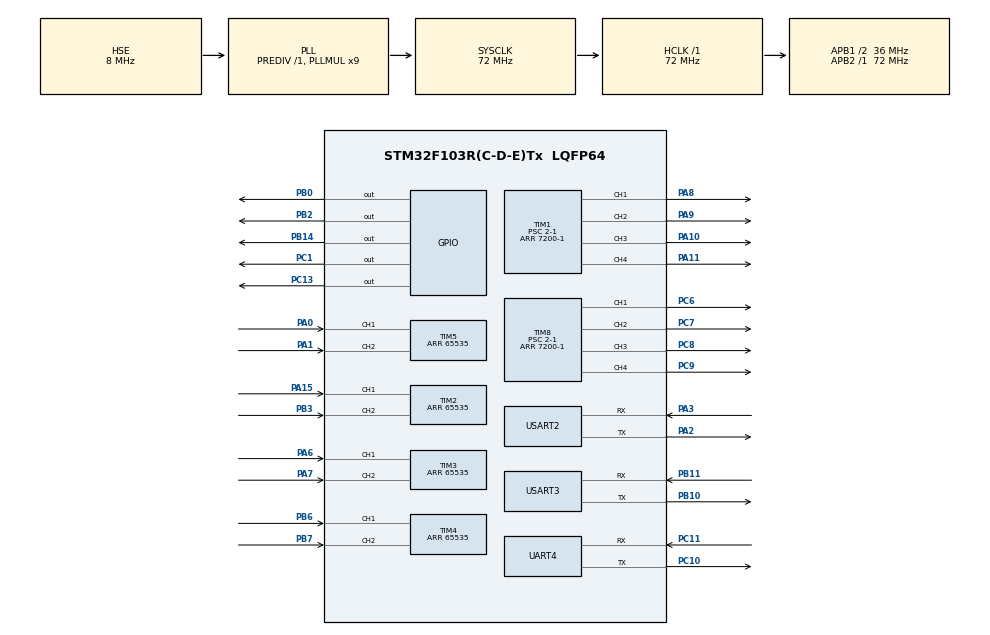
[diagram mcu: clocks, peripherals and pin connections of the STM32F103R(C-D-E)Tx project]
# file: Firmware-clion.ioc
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Dma.Request0=USART3_RX
Dma.USART3_RX.0.Direction=DMA_PERIPH_TO_MEMORY
Dma.USART3_RX.0.Instance=DMA1_Channel3
Dma.USART3_RX.0.MemDataAlignment=DMA_MDATAALIGN_BYTE
Dma.USART3_RX.0.MemInc=DMA_MINC_ENABLE
Dma.USART3_RX.0.Mode=DMA_NORMAL
Dma.USART3_RX.0.PeriphDataAlignment=DMA_PDATAALIGN_BYTE
Dma.USART3_RX.0.PeriphInc=DMA_PINC_DISABLE
Dma.USART3_RX.0.Priority=DMA_PRIORITY_MEDIUM
Mcu.Family=STM32F1
Mcu.Name=STM32F103R(C-D-E)Tx
Mcu.Package=LQFP64
NVIC.DMA1_Channel3_IRQn=true\:0\:0\:false\:false\:true\:false\:true
NVIC.PriorityGroup=NVIC_PRIORITYGROUP_4
NVIC.TIM6_IRQn=true\:0\:0\:false\:false\:true\:true\:true
NVIC.UART4_IRQn=true\:0\:0\:false\:false\:false\:true\:true
NVIC.USART2_IRQn=true\:0\:0\:false\:false\:false\:true\:true
NVIC.USART3_IRQn=true\:0\:0\:false\:false\:false\:true\:true
PA0-WKUP.Signal=S_TIM5_CH1
PA1.Signal=S_TIM5_CH2
PA10.Signal=S_TIM1_CH3
PA11.Signal=S_TIM1_CH4
PA13.Mode=Serial_Wire
PA13.Signal=SYS_JTMS-SWDIO
PA14.Mode=Serial_Wire
PA14.Signal=SYS_JTCK-SWCLK
PA15.GPIO_PuPd=GPIO_PULLUP
PA15.Signal=S_TIM2_CH1_ETR
PA2.Mode=Asynchronous
PA2.Signal=USART2_TX
PA3.Mode=Asynchronous
PA3.Signal=USART2_RX
PA6.Signal=S_TIM3_CH1
PA7.Signal=S_TIM3_CH2
PA8.Signal=S_TIM1_CH1
PA9.Signal=S_TIM1_CH2
PB0.PinState=GPIO_PIN_SET
PB0.Signal=GPIO_Output
PB10.Mode=Asynchronous
PB10.Signal=USART3_TX
PB11.Mode=Asynchronous
PB11.Signal=USART3_RX
PB14.PinState=GPIO_PIN_SET
PB14.Signal=GPIO_Output
PB2.Signal=GPIO_Output
PB3.GPIO_PuPd=GPIO_PULLUP
PB3.Signal=S_TIM2_CH2
PB6.Signal=S_TIM4_CH1
PB7.Signal=S_TIM4_CH2
PC1.Signal=GPIO_Output
PC10.Mode=Asynchronous
PC10.Signal=UART4_TX
PC11.GPIO_PuPd=GPIO_PULLUP
PC11.Mode=Asynchronous
PC11.Signal=UART4_RX
PC13-TAMPER-RTC.Signal=GPIO_Output
PC6.Signal=S_TIM8_CH1
PC7.Signal=S_TIM8_CH2
PC8.Signal=S_TIM8_CH3
PC9.Signal=S_TIM8_CH4
PD0-OSC_IN.Mode=HSE-External-Oscillator
PD0-OSC_IN.Signal=RCC_OSC_IN
PD1-OSC_OUT.Mode=HSE-External-Oscillator
PD1-OSC_OUT.Signal=RCC_OSC_OUT
ProjectManager.HeapSize=0x200
ProjectManager.StackSize=0x400
ProjectManager.TargetToolchain=SW4STM32
RCC.AHBFreq_Value=72000000
RCC.APB1CLKDivider=RCC_HCLK_DIV2
RCC.APB1Freq_Value=36000000
RCC.APB1TimFreq_Value=72000000
RCC.APB2Freq_Value=72000000
RCC.APB2TimFreq_Value=72000000
RCC.HCLKFreq_Value=72000000
RCC.PLLMUL=RCC_PLL_MUL9
RCC.PLLSourceVirtual=RCC_PLLSOURCE_HSE
RCC.SYSCLKFreq_VALUE=72000000
RCC.SYSCLKSource=RCC_SYSCLKSOURCE_PLLCLK
RCC.USBFreq_Value=72000000
SH.S_TIM1_CH1.0=TIM1_CH1,PWM Generation1 CH1
SH.S_TIM1_CH2.0=TIM1_CH2,PWM Generation2 CH2
SH.S_TIM1_CH3.0=TIM1_CH3,PWM Generation3 CH3
SH.S_TIM1_CH4.0=TIM1_CH4,PWM Generation4 CH4
SH.S_TIM2_CH1_ETR.0=TIM2_CH1,Encoder_Interface
SH.S_TIM2_CH2.0=TIM2_CH2,Encoder_Interface
SH.S_TIM3_CH1.0=TIM3_CH1,Encoder_Interface
SH.S_TIM3_CH2.0=TIM3_CH2,Encoder_Interface
SH.S_TIM4_CH1.0=TIM4_CH1,Encoder_Interface
SH.S_TIM4_CH2.0=TIM4_CH2,Encoder_Interface
SH.S_TIM5_CH1.0=TIM5_CH1,Encoder_Interface
SH.S_TIM5_CH2.0=TIM5_CH2,Encoder_Interface
SH.S_TIM8_CH1.0=TIM8_CH1,PWM Generation1 CH1
SH.S_TIM8_CH2.0=TIM8_CH2,PWM Generation2 CH2
SH.S_TIM8_CH3.0=TIM8_CH3,PWM Generation3 CH3
SH.S_TIM8_CH4.0=TIM8_CH4,PWM Generation4 CH4
TIM1.Channel-PWM\ Generation1\ CH1=TIM_CHANNEL_1
TIM1.Channel-PWM\ Generation2\ CH2=TIM_CHANNEL_2
TIM1.Channel-PWM\ Generation3\ CH3=TIM_CHANNEL_3
TIM1.Channel-PWM\ Generation4\ CH4=TIM_CHANNEL_4
TIM1.Period=7200-1
TIM1.Prescaler=2-1
TIM2.EncoderMode=TIM_ENCODERMODE_TI12
TIM2.IC1Filter=8
TIM2.IC2Filter=8
TIM2.Period=65535
TIM3.EncoderMode=TIM_ENCODERMODE_TI12
TIM3.IC1Filter=8
TIM3.IC2Filter=8
TIM3.Period=65535
TIM4.EncoderMode=TIM_ENCODERMODE_TI12
TIM4.IC1Filter=8
TIM4.IC2Filter=8
TIM4.Period=65535
TIM5.EncoderMode=TIM_ENCODERMODE_TI12
TIM5.IC1Filter=8
TIM5.IC2Filter=8
TIM5.Period=65535
TIM6.AutoReloadPreload=TIM_AUTORELOAD_PRELOAD_ENABLE
TIM6.Period=9
TIM6.Prescaler=7199
TIM8.Channel-PWM\ Generation1\ CH1=TIM_CHANNEL_1
TIM8.Channel-PWM\ Generation2\ CH2=TIM_CHANNEL_2
TIM8.Channel-PWM\ Generation3\ CH3=TIM_CHANNEL_3
TIM8.Channel-PWM\ Generation4\ CH4=TIM_CHANNEL_4
TIM8.Period=7200-1
TIM8.Prescaler=2-1
UART4.VirtualMode=Asynchronous
USART2.VirtualMode=VM_ASYNC
USART3.VirtualMode=VM_ASYNC
VP_TIM1_VS_ClockSourceINT.Mode=Internal
VP_TIM6_VS_ClockSourceINT.Mode=Enable_Timer
VP_TIM8_VS_ClockSourceINT.Mode=Internal
board=custom

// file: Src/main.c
/* USER CODE BEGIN Header */
/**
  ******************************************************************************
  * @file           : main.c
  * @brief          : Main program body
  ******************************************************************************
  * @attention
  *
  * <h2><center>&copy; Copyright (c) 2020 STMicroelectronics.
  * All rights reserved.</center></h2>
  *
  * This software component is licensed by ST under BSD 3-Clause license,
  * the "License"; You may not use this file except in compliance with the
  * License. You may obtain a copy of the License at:
  *                        opensource.org/licenses/BSD-3-Clause
  *
  ******************************************************************************
  */
/* USER CODE END Header */

#include "main.h"

/* USER CODE BEGIN Includes */
#include "bsp_imu.h"
#include "bsp_motor.h"
#include "bsp_uart4.h"
#include "bsp_delay.h"
#include "bsp_servo_iic.h"
#include "bsp_led.h"
#include "timer_it.h"
#include "chassis.h"
#include "imu.h"
#include "task.h"
#include "chassis_behavior.h"
/* USER CODE END Includes */

TIM_HandleTypeDef htim1;
TIM_HandleTypeDef htim2;
TIM_HandleTypeDef htim3;
TIM_HandleTypeDef htim4;
TIM_HandleTypeDef htim5;
TIM_HandleTypeDef htim6;
TIM_HandleTypeDef htim8;

UART_HandleTypeDef huart4;
UART_HandleTypeDef huart2;
UART_HandleTypeDef huart3;
DMA_HandleTypeDef hdma_usart3_rx;

void SystemClock_Config(void);
static void MX_GPIO_Init(void);
static void MX_DMA_Init(void);
static void MX_USART3_UART_Init(void);
static void MX_TIM1_Init(void);
static void MX_TIM8_Init(void);
static void MX_TIM2_Init(void);
static void MX_UART4_Init(void);
static void MX_TIM6_Init(void);
static void MX_USART2_UART_Init(void);
static void MX_TIM3_Init(void);
static void MX_TIM4_Init(void);
static void MX_TIM5_Init(void);

int main(void) {

  /* MCU Configuration--------------------------------------------------------*/

  /* Reset of all peripherals, Initializes the Flash interface and the Systick. */
  HAL_Init();

  /* Configure the system clock */
  SystemClock_Config();

  /* Initialize all configured peripherals */
  MX_GPIO_Init();
  MX_DMA_Init();
  MX_USART3_UART_Init();
  MX_TIM1_Init();
  MX_TIM8_Init();
  MX_TIM2_Init();
  MX_UART4_Init();
  MX_TIM6_Init();
  MX_USART2_UART_Init();
  MX_TIM3_Init();
  MX_TIM4_Init();
  MX_TIM5_Init();
  /* USER CODE BEGIN 2 */
  chassis_init();
  delay_init();
  imu_init();
  motor_pwm_enable();
  timer6_init();
  RetargetInit(&huart2);
  tracker_init();
  uart4_receive_init();
  pca_init(50, 90);
  /* USER CODE END 2 */

  /* Infinite loop */
  /* USER CODE BEGIN WHILE */
//  imu.on_off_ = true;
//  chassis_yaw_set(0);
//  move_by_left_bar(2, 1, 60, 6, 150);
  while (1) {
    /* USER CODE END WHILE */

  }
}

void SystemClock_Config(void) {
  RCC_OscInitTypeDef RCC_OscInitStruct = {0};
  RCC_ClkInitTypeDef RCC_ClkInitStruct = {0};

  /** Initializes the CPU, AHB and APB busses clocks
  */
  RCC_OscInitStruct.OscillatorType = RCC_OSCILLATORTYPE_HSE;
  RCC_OscInitStruct.HSEState = RCC_HSE_ON;
  RCC_OscInitStruct.HSEPredivValue = RCC_HSE_PREDIV_DIV1;
  RCC_OscInitStruct.HSIState = RCC_HSI_ON;
  RCC_OscInitStruct.PLL.PLLState = RCC_PLL_ON;
  RCC_OscInitStruct.PLL.PLLSource = RCC_PLLSOURCE_HSE;
  RCC_OscInitStruct.PLL.PLLMUL = RCC_PLL_MUL9;
  if (HAL_RCC_OscConfig(&RCC_OscInitStruct) != HAL_OK) {
    Error_Handler();
  }
  /** Initializes the CPU, AHB and APB busses clocks
  */
  RCC_ClkInitStruct.ClockType = RCC_CLOCKTYPE_HCLK | RCC_CLOCKTYPE_SYSCLK
      | RCC_CLOCKTYPE_PCLK1 | RCC_CLOCKTYPE_PCLK2;
  RCC_ClkInitStruct.SYSCLKSource = RCC_SYSCLKSOURCE_PLLCLK;
  RCC_ClkInitStruct.AHBCLKDivider = RCC_SYSCLK_DIV1;
  RCC_ClkInitStruct.APB1CLKDivider = RCC_HCLK_DIV2;
  RCC_ClkInitStruct.APB2CLKDivider = RCC_HCLK_DIV1;

  if (HAL_RCC_ClockConfig(&RCC_ClkInitStruct, FLASH_LATENCY_2) != HAL_OK) {
    Error_Handler();
  }
}

static void MX_TIM1_Init(void) {

  TIM_ClockConfigTypeDef sClockSourceConfig = {0};
  TIM_MasterConfigTypeDef sMasterConfig = {0};
  TIM_OC_InitTypeDef sConfigOC = {0};
  TIM_BreakDeadTimeConfigTypeDef sBreakDeadTimeConfig = {0};

  htim1.Instance = TIM1;
  htim1.Init.Prescaler = 2 - 1;
  htim1.Init.CounterMode = TIM_COUNTERMODE_UP;
  htim1.Init.Period = 7200 - 1;
  htim1.Init.ClockDivision = TIM_CLOCKDIVISION_DIV1;
  htim1.Init.RepetitionCounter = 0;
  htim1.Init.AutoReloadPreload = TIM_AUTORELOAD_PRELOAD_DISABLE;
  if (HAL_TIM_Base_Init(&htim1) != HAL_OK) {
    Error_Handler();
  }
  sClockSourceConfig.ClockSource = TIM_CLOCKSOURCE_INTERNAL;
  if (HAL_TIM_ConfigClockSource(&htim1, &sClockSourceConfig) != HAL_OK) {
    Error_Handler();
  }
  if (HAL_TIM_PWM_Init(&htim1) != HAL_OK) {
    Error_Handler();
  }
  sMasterConfig.MasterOutputTrigger = TIM_TRGO_RESET;
  sMasterConfig.MasterSlaveMode = TIM_MASTERSLAVEMODE_DISABLE;
  if (HAL_TIMEx_MasterConfigSynchronization(&htim1, &sMasterConfig) != HAL_OK) {
    Error_Handler();
  }
  sConfigOC.OCMode = TIM_OCMODE_PWM1;
  sConfigOC.Pulse = 0;
  sConfigOC.OCPolarity = TIM_OCPOLARITY_HIGH;
  sConfigOC.OCNPolarity = TIM_OCNPOLARITY_HIGH;
  sConfigOC.OCFastMode = TIM_OCFAST_DISABLE;
  sConfigOC.OCIdleState = TIM_OCIDLESTATE_RESET;
  sConfigOC.OCNIdleState = TIM_OCNIDLESTATE_RESET;
  if (HAL_TIM_PWM_ConfigChannel(&htim1, &sConfigOC, TIM_CHANNEL_1) != HAL_OK) {
    Error_Handler();
  }
  if (HAL_TIM_PWM_ConfigChannel(&htim1, &sConfigOC, TIM_CHANNEL_2) != HAL_OK) {
    Error_Handler();
  }
  if (HAL_TIM_PWM_ConfigChannel(&htim1, &sConfigOC, TIM_CHANNEL_3) != HAL_OK) {
    Error_Handler();
  }
  if (HAL_TIM_PWM_ConfigChannel(&htim1, &sConfigOC, TIM_CHANNEL_4) != HAL_OK) {
    Error_Handler();
  }
  sBreakDeadTimeConfig.OffStateRunMode = TIM_OSSR_DISABLE;
  sBreakDeadTimeConfig.OffStateIDLEMode = TIM_OSSI_DISABLE;
  sBreakDeadTimeConfig.LockLevel = TIM_LOCKLEVEL_OFF;
  sBreakDeadTimeConfig.DeadTime = 0;
  sBreakDeadTimeConfig.BreakState = TIM_BREAK_DISABLE;
  sBreakDeadTimeConfig.BreakPolarity = TIM_BREAKPOLARITY_HIGH;
  sBreakDeadTimeConfig.AutomaticOutput = TIM_AUTOMATICOUTPUT_DISABLE;
  if (HAL_TIMEx_ConfigBreakDeadTime(&htim1, &sBreakDeadTimeConfig) != HAL_OK) {
    Error_Handler();
  }
  HAL_TIM_MspPostInit(&htim1);

}

static void MX_TIM2_Init(void) {

  TIM_Encoder_InitTypeDef sConfig = {0};
  TIM_MasterConfigTypeDef sMasterConfig = {0};

  htim2.Instance = TIM2;
  htim2.Init.Prescaler = 0;
  htim2.Init.CounterMode = TIM_COUNTERMODE_UP;
  htim2.Init.Period = 65535;
  htim2.Init.ClockDivision = TIM_CLOCKDIVISION_DIV1;
  htim2.Init.AutoReloadPreload = TIM_AUTORELOAD_PRELOAD_DISABLE;
  sConfig.EncoderMode = TIM_ENCODERMODE_TI12;
  sConfig.IC1Polarity = TIM_ICPOLARITY_RISING;
  sConfig.IC1Selection = TIM_ICSELECTION_DIRECTTI;
  sConfig.IC1Prescaler = TIM_ICPSC_DIV1;
  sConfig.IC1Filter = 8;
  sConfig.IC2Polarity = TIM_ICPOLARITY_RISING;
  sConfig.IC2Selection = TIM_ICSELECTION_DIRECTTI;
  sConfig.IC2Prescaler = TIM_ICPSC_DIV1;
  sConfig.IC2Filter = 8;
  if (HAL_TIM_Encoder_Init(&htim2, &sConfig) != HAL_OK) {
    Error_Handler();
  }
  sMasterConfig.MasterOutputTrigger = TIM_TRGO_RESET;
  sMasterConfig.MasterSlaveMode = TIM_MASTERSLAVEMODE_DISABLE;
  if (HAL_TIMEx_MasterConfigSynchronization(&htim2, &sMasterConfig) != HAL_OK) {
    Error_Handler();
  }

}

static void MX_TIM3_Init(void) {

  TIM_Encoder_InitTypeDef sConfig = {0};
  TIM_MasterConfigTypeDef sMasterConfig = {0};

  htim3.Instance = TIM3;
  htim3.Init.Prescaler = 0;
  htim3.Init.CounterMode = TIM_COUNTERMODE_UP;
  htim3.Init.Period = 65535;
  htim3.Init.ClockDivision = TIM_CLOCKDIVISION_DIV1;
  htim3.Init.AutoReloadPreload = TIM_AUTORELOAD_PRELOAD_DISABLE;
  sConfig.EncoderMode = TIM_ENCODERMODE_TI12;
  sConfig.IC1Polarity = TIM_ICPOLARITY_RISING;
  sConfig.IC1Selection = TIM_ICSELECTION_DIRECTTI;
  sConfig.IC1Prescaler = TIM_ICPSC_DIV1;
  sConfig.IC1Filter = 8;
  sConfig.IC2Polarity = TIM_ICPOLARITY_RISING;
  sConfig.IC2Selection = TIM_ICSELECTION_DIRECTTI;
  sConfig.IC2Prescaler = TIM_ICPSC_DIV1;
  sConfig.IC2Filter = 8;
  if (HAL_TIM_Encoder_Init(&htim3, &sConfig) != HAL_OK) {
    Error_Handler();
  }
  sMasterConfig.MasterOutputTrigger = TIM_TRGO_RESET;
  sMasterConfig.MasterSlaveMode = TIM_MASTERSLAVEMODE_DISABLE;
  if (HAL_TIMEx_MasterConfigSynchronization(&htim3, &sMasterConfig) != HAL_OK) {
    Error_Handler();
  }

}

static void MX_TIM4_Init(void) {

  TIM_Encoder_InitTypeDef sConfig = {0};
  TIM_MasterConfigTypeDef sMasterConfig = {0};

  htim4.Instance = TIM4;
  htim4.Init.Prescaler = 0;
  htim4.Init.CounterMode = TIM_COUNTERMODE_UP;
  htim4.Init.Period = 65535;
  htim4.Init.ClockDivision = TIM_CLOCKDIVISION_DIV1;
  htim4.Init.AutoReloadPreload = TIM_AUTORELOAD_PRELOAD_DISABLE;
  sConfig.EncoderMode = TIM_ENCODERMODE_TI12;
  sConfig.IC1Polarity = TIM_ICPOLARITY_RISING;
  sConfig.IC1Selection = TIM_ICSELECTION_DIRECTTI;
  sConfig.IC1Prescaler = TIM_ICPSC_DIV1;
  sConfig.IC1Filter = 8;
  sConfig.IC2Polarity = TIM_ICPOLARITY_RISING;
  sConfig.IC2Selection = TIM_ICSELECTION_DIRECTTI;
  sConfig.IC2Prescaler = TIM_ICPSC_DIV1;
  sConfig.IC2Filter = 8;
  if (HAL_TIM_Encoder_Init(&htim4, &sConfig) != HAL_OK) {
    Error_Handler();
  }
  sMasterConfig.MasterOutputTrigger = TIM_TRGO_RESET;
  sMasterConfig.MasterSlaveMode = TIM_MASTERSLAVEMODE_DISABLE;
  if (HAL_TIMEx_MasterConfigSynchronization(&htim4, &sMasterConfig) != HAL_OK) {
    Error_Handler();
  }

}

static void MX_TIM5_Init(void) {

  TIM_Encoder_InitTypeDef sConfig = {0};
  TIM_MasterConfigTypeDef sMasterConfig = {0};

  htim5.Instance = TIM5;
  htim5.Init.Prescaler = 0;
  htim5.Init.CounterMode = TIM_COUNTERMODE_UP;
  htim5.Init.Period = 65535;
  htim5.Init.ClockDivision = TIM_CLOCKDIVISION_DIV1;
  htim5.Init.AutoReloadPreload = TIM_AUTORELOAD_PRELOAD_DISABLE;
  sConfig.EncoderMode = TIM_ENCODERMODE_TI12;
  sConfig.IC1Polarity = TIM_ICPOLARITY_RISING;
  sConfig.IC1Selection = TIM_ICSELECTION_DIRECTTI;
  sConfig.IC1Prescaler = TIM_ICPSC_DIV1;
  sConfig.IC1Filter = 8;
  sConfig.IC2Polarity = TIM_ICPOLARITY_RISING;
  sConfig.IC2Selection = TIM_ICSELECTION_DIRECTTI;
  sConfig.IC2Prescaler = TIM_ICPSC_DIV1;
  sConfig.IC2Filter = 8;
  if (HAL_TIM_Encoder_Init(&htim5, &sConfig) != HAL_OK) {
    Error_Handler();
  }
  sMasterConfig.MasterOutputTrigger = TIM_TRGO_RESET;
  sMasterConfig.MasterSlaveMode = TIM_MASTERSLAVEMODE_DISABLE;
  if (HAL_TIMEx_MasterConfigSynchronization(&htim5, &sMasterConfig) != HAL_OK) {
    Error_Handler();
  }

}

static void MX_TIM6_Init(void) {

  TIM_MasterConfigTypeDef sMasterConfig = {0};

  htim6.Instance = TIM6;
  htim6.Init.Prescaler = 7199;
  htim6.Init.CounterMode = TIM_COUNTERMODE_UP;
  htim6.Init.Period = 9;
  htim6.Init.AutoReloadPreload = TIM_AUTORELOAD_PRELOAD_ENABLE;
  if (HAL_TIM_Base_Init(&htim6) != HAL_OK) {
    Error_Handler();
  }
  sMasterConfig.MasterOutputTrigger = TIM_TRGO_RESET;
  sMasterConfig.MasterSlaveMode = TIM_MASTERSLAVEMODE_DISABLE;
  if (HAL_TIMEx_MasterConfigSynchronization(&htim6, &sMasterConfig) != HAL_OK) {
    Error_Handler();
  }

}

static void MX_TIM8_Init(void) {

  TIM_ClockConfigTypeDef sClockSourceConfig = {0};
  TIM_MasterConfigTypeDef sMasterConfig = {0};
  TIM_OC_InitTypeDef sConfigOC = {0};
  TIM_BreakDeadTimeConfigTypeDef sBreakDeadTimeConfig = {0};

  htim8.Instance = TIM8;
  htim8.Init.Prescaler = 2 - 1;
  htim8.Init.CounterMode = TIM_COUNTERMODE_UP;
  htim8.Init.Period = 7200 - 1;
  htim8.Init.ClockDivision = TIM_CLOCKDIVISION_DIV1;
  htim8.Init.RepetitionCounter = 0;
  htim8.Init.AutoReloadPreload = TIM_AUTORELOAD_PRELOAD_DISABLE;
  if (HAL_TIM_Base_Init(&htim8) != HAL_OK) {
    Error_Handler();
  }
  sClockSourceConfig.ClockSource = TIM_CLOCKSOURCE_INTERNAL;
  if (HAL_TIM_ConfigClockSource(&htim8, &sClockSourceConfig) != HAL_OK) {
    Error_Handler();
  }
  if (HAL_TIM_PWM_Init(&htim8) != HAL_OK) {
    Error_Handler();
  }
  sMasterConfig.MasterOutputTrigger = TIM_TRGO_RESET;
  sMasterConfig.MasterSlaveMode = TIM_MASTERSLAVEMODE_DISABLE;
  if (HAL_TIMEx_MasterConfigSynchronization(&htim8, &sMasterConfig) != HAL_OK) {
    Error_Handler();
  }
  sConfigOC.OCMode = TIM_OCMODE_PWM1;
  sConfigOC.Pulse = 0;
  sConfigOC.OCPolarity = TIM_OCPOLARITY_HIGH;
  sConfigOC.OCNPolarity = TIM_OCNPOLARITY_HIGH;
  sConfigOC.OCFastMode = TIM_OCFAST_DISABLE;
  sConfigOC.OCIdleState = TIM_OCIDLESTATE_RESET;
  sConfigOC.OCNIdleState = TIM_OCNIDLESTATE_RESET;
  if (HAL_TIM_PWM_ConfigChannel(&htim8, &sConfigOC, TIM_CHANNEL_1) != HAL_OK) {
    Error_Handler();
  }
  if (HAL_TIM_PWM_ConfigChannel(&htim8, &sConfigOC, TIM_CHANNEL_2) != HAL_OK) {
    Error_Handler();
  }
  if (HAL_TIM_PWM_ConfigChannel(&htim8, &sConfigOC, TIM_CHANNEL_3) != HAL_OK) {
    Error_Handler();
  }
  if (HAL_TIM_PWM_ConfigChannel(&htim8, &sConfigOC, TIM_CHANNEL_4) != HAL_OK) {
    Error_Handler();
  }
  sBreakDeadTimeConfig.OffStateRunMode = TIM_OSSR_DISABLE;
  sBreakDeadTimeConfig.OffStateIDLEMode = TIM_OSSI_DISABLE;
  sBreakDeadTimeConfig.LockLevel = TIM_LOCKLEVEL_OFF;
  sBreakDeadTimeConfig.DeadTime = 0;
  sBreakDeadTimeConfig.BreakState = TIM_BREAK_DISABLE;
  sBreakDeadTimeConfig.BreakPolarity = TIM_BREAKPOLARITY_HIGH;
  sBreakDeadTimeConfig.AutomaticOutput = TIM_AUTOMATICOUTPUT_DISABLE;
  if (HAL_TIMEx_ConfigBreakDeadTime(&htim8, &sBreakDeadTimeConfig) != HAL_OK) {
    Error_Handler();
  }
  HAL_TIM_MspPostInit(&htim8);

}

static void MX_UART4_Init(void) {

  huart4.Instance = UART4;
  huart4.Init.BaudRate = 115200;
  huart4.Init.WordLength = UART_WORDLENGTH_8B;
  huart4.Init.StopBits = UART_STOPBITS_1;
  huart4.Init.Parity = UART_PARITY_NONE;
  huart4.Init.Mode = UART_MODE_TX_RX;
  huart4.Init.HwFlowCtl = UART_HWCONTROL_NONE;
  huart4.Init.OverSampling = UART_OVERSAMPLING_16;
  if (HAL_UART_Init(&huart4) != HAL_OK) {
    Error_Handler();
  }

}

static void MX_USART2_UART_Init(void) {

  huart2.Instance = USART2;
  huart2.Init.BaudRate = 115200;
  huart2.Init.WordLength = UART_WORDLENGTH_8B;
  huart2.Init.StopBits = UART_STOPBITS_1;
  huart2.Init.Parity = UART_PARITY_NONE;
  huart2.Init.Mode = UART_MODE_TX_RX;
  huart2.Init.HwFlowCtl = UART_HWCONTROL_NONE;
  huart2.Init.OverSampling = UART_OVERSAMPLING_16;
  if (HAL_UART_Init(&huart2) != HAL_OK) {
    Error_Handler();
  }

}

static void MX_USART3_UART_Init(void) {

  huart3.Instance = USART3;
  huart3.Init.BaudRate = 115200;
  huart3.Init.WordLength = UART_WORDLENGTH_8B;
  huart3.Init.StopBits = UART_STOPBITS_1;
  huart3.Init.Parity = UART_PARITY_NONE;
  huart3.Init.Mode = UART_MODE_TX_RX;
  huart3.Init.HwFlowCtl = UART_HWCONTROL_NONE;
  huart3.Init.OverSampling = UART_OVERSAMPLING_16;
  if (HAL_UART_Init(&huart3) != HAL_OK) {
    Error_Handler();
  }

}

static void MX_DMA_Init(void) {

  /* DMA controller clock enable */
  __HAL_RCC_DMA1_CLK_ENABLE();

  /* DMA interrupt init */
  /* DMA1_Channel3_IRQn interrupt configuration */
  HAL_NVIC_SetPriority(DMA1_Channel3_IRQn, 0, 0);
  HAL_NVIC_EnableIRQ(DMA1_Channel3_IRQn);

}

static void MX_GPIO_Init(void) {
  GPIO_InitTypeDef GPIO_InitStruct = {0};

  /* GPIO Ports Clock Enable */
  __HAL_RCC_GPIOC_CLK_ENABLE();
  __HAL_RCC_GPIOD_CLK_ENABLE();
  __HAL_RCC_GPIOA_CLK_ENABLE();
  __HAL_RCC_GPIOB_CLK_ENABLE();

  /*Configure GPIO pin Output Level */
  HAL_GPIO_WritePin(GPIOC, GPIO_PIN_13 | GPIO_PIN_1, GPIO_PIN_RESET);

  /*Configure GPIO pin Output Level */
  HAL_GPIO_WritePin(GPIOB, GPIO_PIN_0 | GPIO_PIN_14, GPIO_PIN_SET);

  /*Configure GPIO pin Output Level */
  HAL_GPIO_WritePin(GPIOB, GPIO_PIN_2, GPIO_PIN_RESET);

  /*Configure GPIO pins : PC13 PC1 */
  GPIO_InitStruct.Pin = GPIO_PIN_13 | GPIO_PIN_1;
  GPIO_InitStruct.Mode = GPIO_MODE_OUTPUT_PP;
  GPIO_InitStruct.Pull = GPIO_NOPULL;
  GPIO_InitStruct.Speed = GPIO_SPEED_FREQ_LOW;
  HAL_GPIO_Init(GPIOC, &GPIO_InitStruct);

  /*Configure GPIO pins : PB0 PB2 PB14 */
  GPIO_InitStruct.Pin = GPIO_PIN_0 | GPIO_PIN_2 | GPIO_PIN_14;
  GPIO_InitStruct.Mode = GPIO_MODE_OUTPUT_PP;
  GPIO_InitStruct.Pull = GPIO_NOPULL;
  GPIO_InitStruct.Speed = GPIO_SPEED_FREQ_LOW;
  HAL_GPIO_Init(GPIOB, &GPIO_InitStruct);

}

void Error_Handler(void) {
}

/************************ (C) COPYRIGHT STMicroelectronics *****END OF FILE****/
